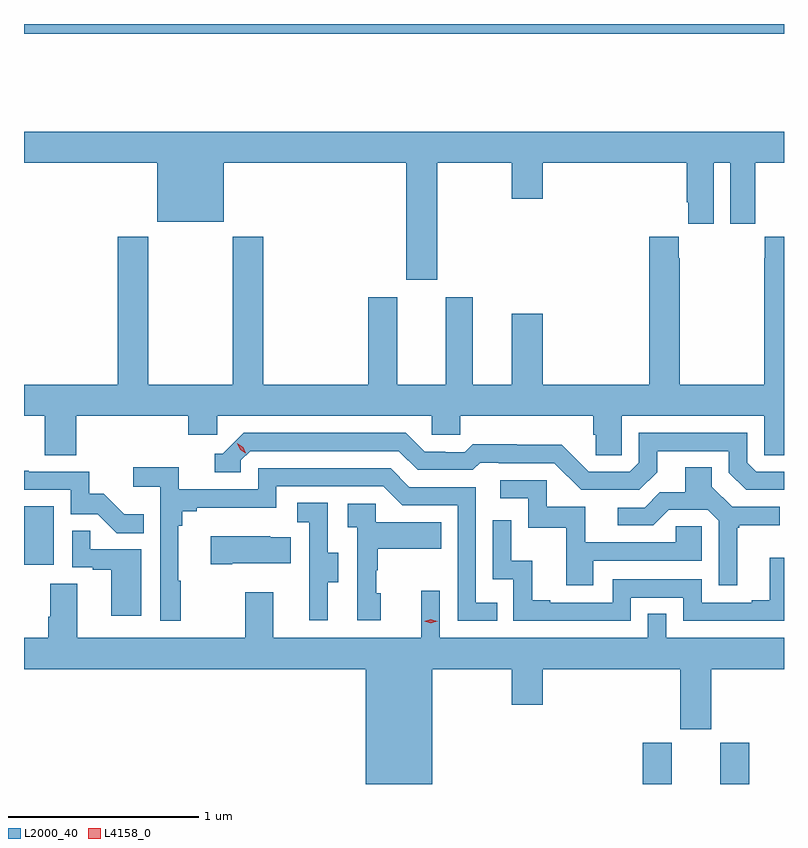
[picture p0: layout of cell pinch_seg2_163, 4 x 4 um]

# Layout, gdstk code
import gdstk
lib = gdstk.Library(unit=1e-6, precision=1e-09)
def R(c, l, rs):  # rectangles x0, y0, x1, y1
    for r in rs: c.add(gdstk.rectangle(r[:2], r[2:], *l))
def P(c, l, *ps):  # polygons
    for p in ps: c.add(gdstk.Polygon(p, *l))
L2000_40 = (2000, 40)
L4158_0 = (4158, 0)

pinch_seg2_163 = lib.new_cell('pinch_seg2_163')
R(pinch_seg2_163, L2000_40, [(1100.762,627.051,1100.914,627.267), (1101.17,627.051,1101.323,627.267), (1097.506,628.206,1097.662,628.513), (1097.506,631,1101.506,631.051)])
P(pinch_seg2_163, L2000_40, [(1099.681,630.32),(1100.072,630.32),(1100.072,630.132),(1100.236,630.132),(1100.236,630.32),(1100.993,630.32),(1100.993,630.112),(1101.002,630.112),(1101.002,630),(1101.136,630),(1101.136,630.32),(1101.224,630.32),(1101.224,630),(1101.354,630),(1101.354,630.112),(1101.355,630.112),(1101.355,630.32),(1101.506,630.32),(1101.506,630.484),(1097.506,630.484),(1097.506,630.32),(1098.206,630.32),(1098.206,630.011),(1098.556,630.011),(1098.556,630.32),(1099.517,630.32),(1099.517,629.706),(1099.681,629.706)],
  [(1099.471,629.614),(1099.319,629.614),(1099.319,629.152),(1098.764,629.152),(1098.764,629.932),(1098.604,629.932),(1098.604,629.152),(1098.159,629.152),(1098.159,629.932),(1097.999,629.932),(1097.999,629.152),(1097.506,629.152),(1097.506,628.988),(1097.615,628.988),(1097.615,628.78),(1097.78,628.78),(1097.78,628.988),(1098.371,628.988),(1098.371,628.89),(1098.522,628.89),(1098.522,628.988),(1099.653,628.988),(1099.653,628.89),(1099.803,628.89),(1099.803,628.988),(1100.501,628.988),(1100.501,628.89),(1100.515,628.89),(1100.515,628.78),(1100.652,628.78),(1100.652,628.988),(1101.402,628.988),(1101.402,628.78),(1101.506,628.78),(1101.506,629.932),(1101.405,629.932),(1101.405,629.819),(1101.403,629.819),(1101.403,629.152),(1100.958,629.152),(1100.958,629.819),(1100.951,629.819),(1100.951,629.932),(1100.798,629.932),(1100.798,629.152),(1100.236,629.152),(1100.236,629.527),(1100.072,629.527),(1100.072,629.152),(1099.867,629.152),(1099.867,629.614),(1099.727,629.614),(1099.727,629.152),(1099.471,629.152)],
  [(1100.839,628.693),(1100.839,628.803),(1101.216,628.803),(1101.216,628.689),(1101.306,628.599),(1101.506,628.599),(1101.506,628.695),(1101.36,628.695),(1101.312,628.743),(1101.312,628.899),(1100.742,628.899),(1100.742,628.743),(1100.694,628.695),(1100.478,628.695),(1100.336,628.837),(1100.1,628.837),(1100.1,628.84),(1099.867,628.84),(1099.825,628.797),(1099.722,628.797),(1099.722,628.8),(1099.615,628.8),(1099.516,628.899),(1098.663,628.899),(1098.552,628.788),(1098.509,628.788),(1098.509,628.692),(1098.648,628.692),(1098.648,628.755),(1098.696,628.803),(1099.479,628.803),(1099.578,628.704),(1099.867,628.704),(1099.906,628.743),(1100.005,628.743),(1100.005,628.74),(1100.298,628.74),(1100.439,628.599),(1100.745,628.599)],
  [(1101.259,628.401),(1101.271,628.401),(1101.271,628.412),(1101.484,628.412),(1101.484,628.509),(1101.234,628.509),(1101.127,628.616),(1101.127,628.718),(1100.987,628.718),(1100.987,628.586),(1100.852,628.586),(1100.772,628.506),(1100.631,628.506),(1100.631,628.413),(1100.818,628.413),(1100.899,628.494),(1101.105,628.494),(1101.162,628.437),(1101.162,628.098),(1101.259,628.098)],
  [(1098.331,628.121),(1098.319,628.121),(1098.319,628.409),(1098.338,628.409),(1098.338,628.486),(1098.415,628.486),(1098.415,628.505),(1098.834,628.505),(1098.834,628.617),(1099.398,628.617),(1099.497,628.518),(1099.788,628.518),(1099.788,627.909),(1099.997,627.909),(1099.997,628.005),(1099.884,628.005),(1099.884,628.614),(1099.534,628.614),(1099.435,628.713),(1098.738,628.713),(1098.738,628.602),(1098.32,628.602),(1098.32,628.718),(1098.081,628.718),(1098.081,628.616),(1098.222,628.616),(1098.222,627.909),(1098.331,627.909)],
  [(1098.137,628.471),(1098.033,628.471),(1097.926,628.578),(1097.85,628.578),(1097.85,628.695),(1097.531,628.695),(1097.531,628.7),(1097.506,628.7),(1097.506,628.599),(1097.751,628.599),(1097.751,628.47),(1097.895,628.47),(1097.993,628.372),(1098.137,628.372)],
  [(1100.503,628.227),(1101.072,628.227),(1101.072,628.407),(1100.935,628.407),(1100.935,628.323),(1100.461,628.323),(1100.461,628.509),(1100.256,628.509),(1100.256,628.65),(1100.013,628.65),(1100.013,628.554),(1100.16,628.554),(1100.16,628.401),(1100.359,628.401),(1100.359,628.098),(1100.503,628.098)],
  [(1099.105,628.114),(1099.159,628.114),(1099.159,628.269),(1099.104,628.269),(1099.104,628.532),(1098.945,628.532),(1098.945,628.429),(1099.008,628.429),(1099.008,628.125),(1099.007,628.125),(1099.007,627.912),(1099.105,627.912)],
  [(1099.384,628.056),(1099.359,628.056),(1099.359,628.175),(1099.369,628.175),(1099.369,628.289),(1099.703,628.289),(1099.703,628.429),(1099.356,628.429),(1099.356,628.527),(1099.209,628.527),(1099.209,628.403),(1099.26,628.403),(1099.26,627.912),(1099.384,627.912)],
  [(1100.7,628.032),(1100.976,628.032),(1100.976,627.909),(1101.506,627.909),(1101.506,628.243),(1101.431,628.243),(1101.431,628.018),(1101.335,628.018),(1101.335,628.005),(1101.072,628.005),(1101.072,628.128),(1100.604,628.128),(1100.604,628.005),(1100.275,628.005),(1100.275,628.018),(1100.18,628.018),(1100.18,628.226),(1100.07,628.226),(1100.07,628.438),(1099.974,628.438),(1099.974,628.128),(1100.082,628.128),(1100.082,627.909),(1100.7,627.909)],
  [(1098.124,628.287),(1097.855,628.287),(1097.855,628.385),(1097.76,628.385),(1097.76,628.191),(1097.867,628.191),(1097.867,628.179),(1097.966,628.179),(1097.966,627.936),(1098.124,627.936)],
  [(1098.601,628.214),(1098.911,628.214),(1098.911,628.351),(1098.803,628.351),(1098.803,628.354),(1098.489,628.354),(1098.489,628.207),(1098.601,628.207)],
  [(1099.654,627.656),(1100.072,627.656),(1100.072,627.468),(1100.236,627.468),(1100.236,627.656),(1100.96,627.656),(1100.96,627.339),(1101.124,627.339),(1101.124,627.656),(1101.506,627.656),(1101.506,627.82),(1100.886,627.82),(1100.886,627.947),(1100.79,627.947),(1100.79,627.82),(1099.695,627.82),(1099.695,628.069),(1099.598,628.069),(1099.598,627.82),(1098.817,627.82),(1098.817,628.06),(1098.67,628.06),(1098.67,627.82),(1097.785,627.82),(1097.785,628.106),(1097.645,628.106),(1097.645,627.932),(1097.633,627.932),(1097.633,627.82),(1097.506,627.82),(1097.506,627.656),(1099.304,627.656),(1099.304,627.051),(1099.654,627.051)])
P(pinch_seg2_163, L4158_0, [(1098.674,628.791),(1098.644,628.811),(1098.628,628.844),(1098.628,628.844),(1098.629,628.844),(1098.659,628.824),(1098.674,628.792),(1098.674,628.791)],
  [(1099.647,627.898),(1099.612,627.908),(1099.612,627.908),(1099.612,627.908),(1099.647,627.917),(1099.682,627.907),(1099.683,627.907),(1099.682,627.907)])

lib.write_gds('pinch_seg2_163.gds')
